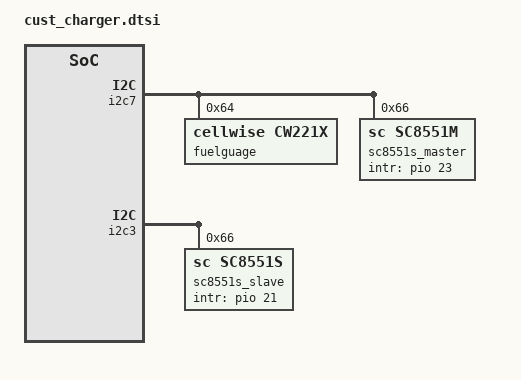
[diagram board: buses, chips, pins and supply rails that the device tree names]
/*
 * Copyright (c) 2024 MediaTek Inc.
 *
 */
/* mtk charge */
&pe5 {
	vbat-cv = <4480>;
	gauge = <&battery_manager>;
	allow_not_check_ta_status;

	idvchg-term = <800>;
	ita-level-dual = <6000 5700 4400 3000>;
	rcable-level-dual = <230 350 450 550>;
};

&charger {
	battery_cv = <4450000>;
	charger-configuration = <2>;

	ac-charger-current = <3200000>;
	ac-charger-input-current = <2050000>;

	max_pwr = <66>;
	fast_charging_indicator = <16>; // PE50

	/* step charging */
	cs,chrg-temp-zones-num = <4>;
	cs,chrg-temp-zones = <0 4450 2500 0 0 0 0>,
				<15 4450 2500 0 0 0 0>,
				<45 4350 12500 4400 9000 4450 5000>,
				<55 4100 2500 0 0 0 0>;
	/* ffc charging */
	cs,chrg-ffc-zones = <0 4450 250>,
				<15 4450 250>,
				<25 4480 1150>,
				<35 4480 1150>,
				<40 4480 1150>,
				<45 4480 1150>,
				<55 4100 250>;
};

/* fuel gague ic */
&i2c7 {
	fuelguage@64 {
		compatible = "cellwise,cw221x";
		reg = <0x64>;
		bat_fcc_design = <4700000>; /* uAh */
		batinfo = /bits/ 8 <
		0x5A 0x00 0x00 0x00 0x00 0x00 0xF4 0x00 0x92 0xBE
		0xBA 0xC5 0xB3 0xA9 0xC2 0xA0 0x8C 0xF8 0xD5 0xA3
		0x7B 0x62 0x52 0x47 0x42 0x3C 0x35 0x72 0x49 0xDD
		0x23 0xBE 0xC4 0xCB 0xD1 0xD2 0xD2 0xD0 0xCC 0xC8
		0xC7 0xD6 0xC7 0xA8 0x9A 0x8F 0x88 0x81 0x7F 0x84
		0x89 0x92 0xAA 0x83 0x5F 0xFF 0x20 0x00 0xAB 0x10
		0x00 0x80 0x0F 0x00 0x00 0x00 0x64 0x19 0xA2 0xD0
		0x00 0x00 0x00 0x00 0x00 0x00 0x00 0x00 0x00 0xE9>;
	};
};

/* charger ic */
&i2c7 {
	#address-cells = <1>;
	#size-cells = <0>;
	sc8551s_master@66 {
		compatible = "sc,sc8551m";
		status = "okay";
		reg = <0x66>;
		rm_name = "sc8551m";
		rm_slave_addr = /bits/ 8 <0x66>;
		sc8551m,intr-gpios = <&pio 23 0x0>;
		standalone {
			chg_name = "primary_dvchg";
			vbatovp = <4500000>;
			vbatovp_alm = <4400000>;
			ibatocp = <6100000>;
			ibatocp_alm = <6000000>;
			ibatucp_alm = <1000000>;
			vbusovp = <10000000>;
			vbusovp_alm = <9000000>;
			ibusocp = <4250000>;
			ibusocp_alm = <4000000>;
			vacovp = <11000000>;
			wdt = <30000000>;
			ibat_rsense = <1>; /* 0: 2mohm, 1: 5mohm */
			ibusucpf_deglitch = <0>; /* 0: 10us, 1: 5ms */
			/* vbatovp_dis; */
			/* vbatovp_alm_dis; */
			/* ibatocp_dis; */
			ibatocp_alm_dis;
			ibatucp_alm_dis;
			/* vbusovp_alm_dis; */
			/* ibusocp_dis; */
			ibusocp_alm_dis;
			/* wdt_dis; */
			/* tsbusotp_dis; */
			tsbatotp_dis;
			/* tdieotp_dis; */
			/* reg_en; */
			/* voutovp_dis; */
			/* ibusadc_dis; */
			/* vbusadc_dis; */
			/* vacadc_dis; */
			/* voutadc_dis; */
			/* vbatadc_dis; */
			/* ibatadc_dis; */
			/* tsbusadc_dis; */
			/* tsbatadc_dis; */
			/* tdieadc_dis; */
		};
		master{
			chg_name = "primary_dvchg";
			vbatovp = <4500000>;
			vbatovp_alm = <4400000>;
			ibatocp = <6100000>;
			ibatocp_alm = <6000000>;
			ibatucp_alm = <1000000>;
			vbusovp = <10000000>;
			vbusovp_alm = <9000000>;
			ibusocp = <4250000>;
			ibusocp_alm = <4000000>;
			vacovp = <11000000>;
			wdt = <1000000>;
			ibat_rsense = <1>; /* 0: 2mohm, 1: 5mohm */
			ibusucpf_deglitch = <0>; /* 0: 10us, 1: 5ms */
			vbatovp_dis;
			vbatovp_alm_dis;
			ibatocp_dis;
			ibatocp_alm_dis;
			ibatucp_alm_dis;
			vbusovp_alm_dis;
			/* ibusocp_dis; */
			ibusocp_alm_dis;
			wdt_dis;
			/* tsbusotp_dis; */
			/* tsbatotp_dis; */
			/* tdieotp_dis; */
			/* reg_en; */
			/* voutovp_dis; */
			/* ibusadc_dis; */
			/* vbusadc_dis; */
			/* vacadc_dis; */
			/* voutadc_dis; */
			vbatadc_dis;
			ibatadc_dis;
			/* tsbusadc_dis; */
			/* tsbatadc_dis; */
			/* tdieadc_dis; */
		};
	};
};

&i2c3 {
	#address-cells = <1>;
	#size-cells = <0>;
	sc8551s_slave@66 {
		compatible = "sc,sc8551s";
		status = "okay";
		reg = <0x66>;
		rm_name = "sc8551s";
		rm_slave_addr = /bits/ 8 <0x66>;
		sc8551s,intr-gpios = <&pio 21 0x0>;
		standalone {
			chg_name = "secondary_dvchg";
			vbatovp = <4500000>;
			vbatovp_alm = <4400000>;
			ibatocp = <6100000>;
			ibatocp_alm = <6000000>;
			ibatucp_alm = <1000000>;
			vbusovp = <10000000>;
			vbusovp_alm = <9000000>;
			ibusocp = <4250000>;
			ibusocp_alm = <4000000>;
			vacovp = <11000000>;
			wdt = <30000000>;
			ibat_rsense = <1>; /* 0: 2mohm, 1: 5mohm */
			ibusucpf_deglitch = <0>; /* 0: 10us, 1: 5ms */
			/* vbatovp_dis; */
			/* vbatovp_alm_dis; */
			/* ibatocp_dis; */
			ibatocp_alm_dis;
			ibatucp_alm_dis;
			/* vbusovp_alm_dis; */
			/* ibusocp_dis; */
			ibusocp_alm_dis;
			/* wdt_dis; */
			/* tsbusotp_dis; */
			/* tsbatotp_dis; */
			/* tdieotp_dis; */
			/* reg_en; */
			/* voutovp_dis; */
			/* ibusadc_dis; */
			/* vbusadc_dis; */
			/* vacadc_dis; */
			/* voutadc_dis; */
			/* vbatadc_dis; */
			/* ibatadc_dis; */
			/* tsbusadc_dis; */
			/* tsbatadc_dis; */
			/* tdieadc_dis; */
		};
		slave{
			chg_name = "secondary_dvchg";
			vbatovp = <4500000>;
			vbatovp_alm = <4400000>;
			ibatocp = <6100000>;
			ibatocp_alm = <6000000>;
			ibatucp_alm = <1000000>;
			vbusovp = <10000000>;
			vbusovp_alm = <9000000>;
			ibusocp = <4250000>;
			ibusocp_alm = <4000000>;
			vacovp = <11000000>;
			wdt = <1000000>;
			ibat_rsense = <1>; /* 0: 2mohm, 1: 5mohm */
			ibusucpf_deglitch = <0>; /* 0: 10us, 1: 5ms */
			vbatovp_dis;
			vbatovp_alm_dis;
			ibatocp_dis;
			ibatocp_alm_dis;
			ibatucp_alm_dis;
			vbusovp_alm_dis;
			/* ibusocp_dis; */
			ibusocp_alm_dis;
			wdt_dis;
			/* tsbusotp_dis; */
			/* tsbatotp_dis; */
			/* tdieotp_dis; */
			/* reg_en; */
			/* voutovp_dis; */
			/* ibusadc_dis; */
			/* vbusadc_dis; */
			/* vacadc_dis; */
			/* voutadc_dis; */
			vbatadc_dis;
			ibatadc_dis;
			/* tsbusadc_dis; */
			/* tsbatadc_dis; */
			/* tdieadc_dis; */
		};
	};
};

